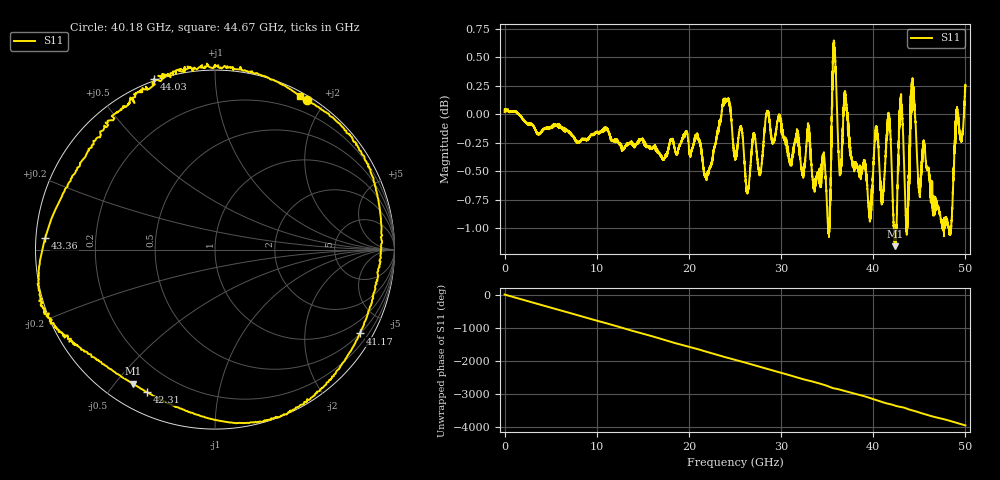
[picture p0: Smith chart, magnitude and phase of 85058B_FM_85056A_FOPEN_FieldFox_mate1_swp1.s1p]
!Created with skrf (http://scikit-rf.org).
# Hz S RI R 50.0
!freq ReS11 ImS11
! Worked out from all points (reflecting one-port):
!   10001 points, 300 kHz to 50 GHz, reference 50 ohm
!   lowest |S11| = -1.2 dB at 42.37 GHz (marker M1), VSWR 15.05, Z = 4.36 - j27.8 ohm
!   phase of S11 starts at 0 deg and turns -3961 deg over the sweep
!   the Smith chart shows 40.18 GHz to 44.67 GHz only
!   S11 on the Smith chart (normalised r, x): 40.18 GHz: 0.05, +1.79; 41.17 GHz: 0.51, -3.66; 42.31 GHz: 0.09, -0.63; 43.36 GHz: 0.03, +0.03; 44.03 GHz: -0.01, +0.70; 44.67 GHz: 0.05, +1.69
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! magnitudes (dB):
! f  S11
! 300 kHz  0.0
! 6.25 GHz  -0.1
! 12.5 GHz  -0.3
! 18.75 GHz  -0.3
! 21.95 GHz  -0.5
! 24.09 GHz  0.1
! 25 GHz  -0.4
! 31.25 GHz  -0.4
! 32.98 GHz  -0.1
! 35.15 GHz  -1.0
! 35.78 GHz  0.5
! 36.37 GHz  -0.5
! 36.97 GHz  0.2
! 37.5 GHz  -0.3
! 39.64 GHz  -0.9
! 40.18 GHz  -0.2
! 41.17 GHz  -0.6
! 41.73 GHz  -0.1
! 42.31 GHz  -1.1
! 42.37 GHz  -1.2
! 42.97 GHz  0.1
! 43.36 GHz  -0.5
! 43.75 GHz  -0.9
! 44.03 GHz  0.1
! 44.67 GHz  -0.2
! 48.28 GHz  -1.0
! 49.02 GHz  -0.1
! 50 GHz  0.3
